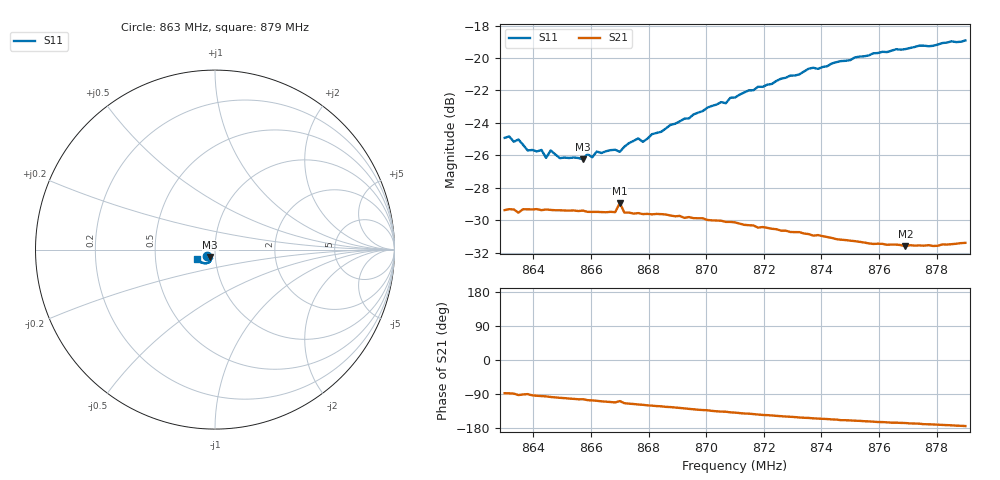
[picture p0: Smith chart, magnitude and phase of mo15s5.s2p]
# HZ S RI R 50
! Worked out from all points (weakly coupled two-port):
!   101 points, 863 MHz to 879 MHz, reference 50 ohm
!   highest |S21| = -28.95 dB at 867 MHz (marker M1); lowest = -31.6 dB at 876.92 MHz (marker M2)
!   lowest |S11| = -26.2 dB at 865.72 MHz (marker M3), VSWR 1.10, Z = 47.2 - j3.86 ohm
!   |S11| at or under -10 dB: start of sweep to end of sweep
!   S12 and S22 are empty: the file has one direction only
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8.63e8  -0.0427 -0.0374  0.00141 -0.0339  0 0  0 0
8.6316e8  -0.0433 -0.0376  0.00122 -0.0342  0 0  0 0
8.6332e8  -0.0415 -0.0364  0.000767 -0.0341  0 0  0 0
8.6348e8  -0.0417 -0.0375  -0.00146 -0.0333  0 0  0 0
8.638e8  -0.0358 -0.0376  9e-06 -0.0342  0 0  0 0
8.6428e8  -0.0336 -0.0398  -0.00307 -0.0338  0 0  0 0
8.6444e8  -0.0325 -0.037  -0.00356 -0.0339  0 0  0 0
8.646e8  -0.034 -0.0392  -0.00449 -0.0337  0 0  0 0
8.6492e8  -0.0309 -0.0382  -0.00578 -0.0334  0 0  0 0
8.6572e8  -0.0267 -0.0408  -0.00792 -0.0329  0 0  0 0
8.6588e8  -0.0273 -0.0426  -0.0092 -0.0323  0 0  0 0
8.6604e8  -0.0261 -0.042  -0.00961 -0.0321  0 0  0 0
8.662e8  -0.0271 -0.0438  -0.0102 -0.032  0 0  0 0
8.6684e8  -0.0237 -0.0464  -0.0125 -0.0311  0 0  0 0
8.67e8  -0.0157 -0.0489  -0.0113 -0.0339  0 0  0 0
8.6716e8  -0.0234 -0.0479  -0.0136 -0.0305  0 0  0 0
8.6844e8  -0.0231 -0.0546  -0.0176 -0.0279  0 0  0 0
8.71e8  -0.0311 -0.0688  -0.0234 -0.0205  0 0  0 0
8.7372e8  -0.0524 -0.0773  -0.0254 -0.0125  0 0  0 0
8.7644e8  -0.0787 -0.07  -0.0257 -0.00669  0 0  0 0
8.7692e8  -0.0839 -0.0656  -0.0255 -0.00623  0 0  0 0
8.79e8  -0.1018 -0.0498  -0.0268 -0.00267  0 0  0 0
